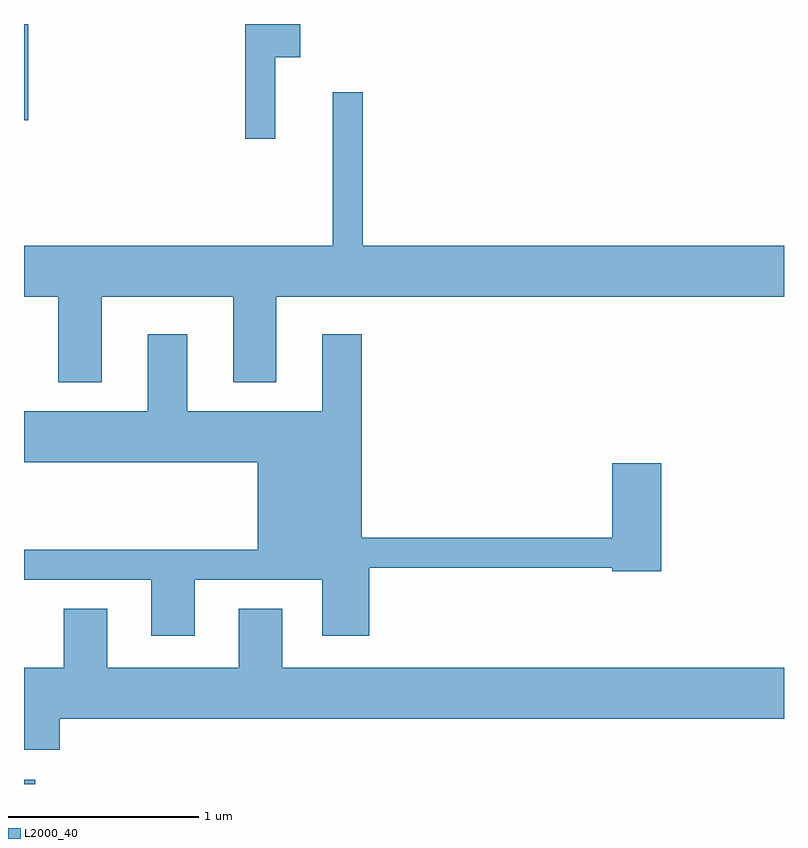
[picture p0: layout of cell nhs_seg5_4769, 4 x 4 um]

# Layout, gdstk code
import gdstk
lib = gdstk.Library(unit=1e-6, precision=1e-09)
def R(c, l, rs):  # rectangles x0, y0, x1, y1
    for r in rs: c.add(gdstk.rectangle(r[:2], r[2:], *l))
def P(c, l, *ps):  # polygons
    for p in ps: c.add(gdstk.Polygon(p, *l))
L2000_40 = (2000, 40)

nhs_seg5_4769 = lib.new_cell('nhs_seg5_4769')
R(nhs_seg5_4769, L2000_40, [(327.611,1392.072,327.669,1392.094), (327.611,1395.566,327.634,1396.072)])
P(nhs_seg5_4769, L2000_40, [(328.934,1395.896),(329.064,1395.896),(329.064,1396.072),(328.776,1396.072),(328.776,1395.468),(328.934,1395.468)],
  [(328.019,1394.636),(328.711,1394.636),(328.711,1394.186),(328.939,1394.186),(328.939,1394.636),(331.611,1394.636),(331.611,1394.904),(329.394,1394.904),(329.394,1395.713),(329.236,1395.713),(329.236,1394.904),(327.611,1394.904),(327.611,1394.636),(327.791,1394.636),(327.791,1394.186),(328.019,1394.186)],
  [(328.509,1393.146),(329.181,1393.146),(329.181,1392.851),(329.429,1392.851),(329.429,1393.211),(330.706,1393.211),(330.706,1393.191),(330.964,1393.191),(330.964,1393.759),(330.706,1393.759),(330.706,1393.369),(329.389,1393.369),(329.389,1394.439),(329.181,1394.439),(329.181,1394.034),(328.469,1394.034),(328.469,1394.439),(328.261,1394.439),(328.261,1394.034),(327.611,1394.034),(327.611,1393.766),(328.841,1393.766),(328.841,1393.304),(327.611,1393.304),(327.611,1393.146),(328.281,1393.146),(328.281,1392.851),(328.509,1392.851)],
  [(327.799,1392.416),(331.611,1392.416),(331.611,1392.684),(328.969,1392.684),(328.969,1392.994),(328.741,1392.994),(328.741,1392.684),(328.049,1392.684),(328.049,1392.994),(327.821,1392.994),(327.821,1392.684),(327.611,1392.684),(327.611,1392.251),(327.799,1392.251)])

lib.write_gds('nhs_seg5_4769.gds')
